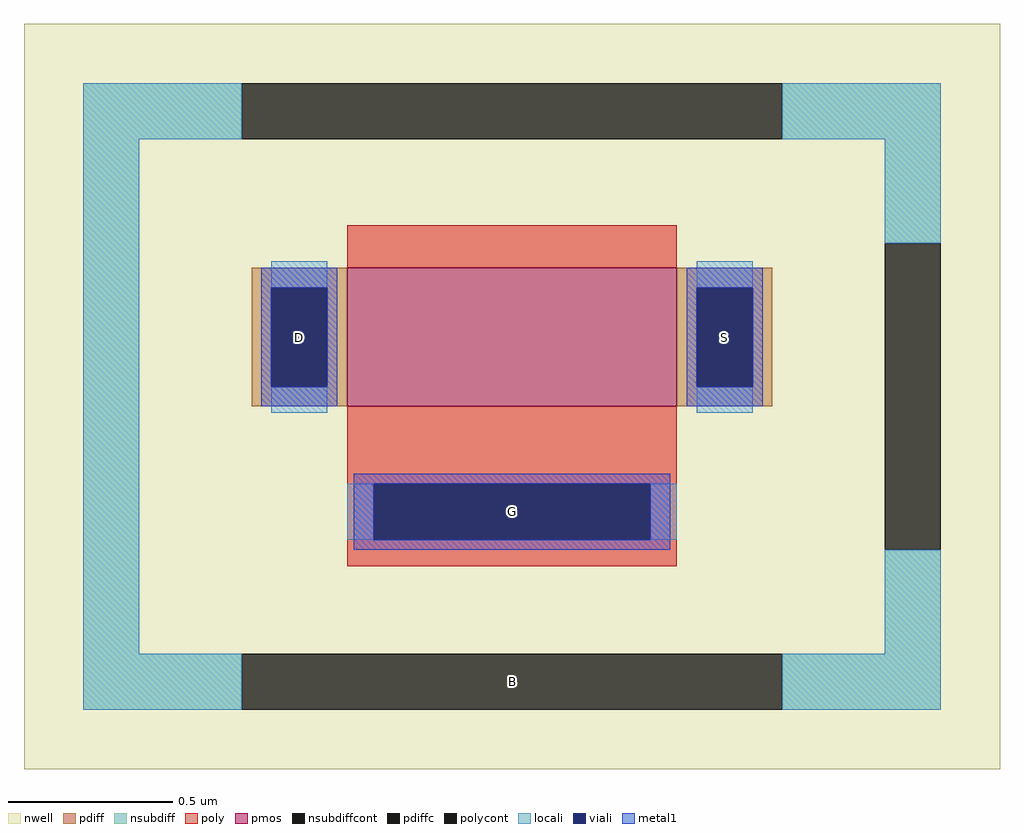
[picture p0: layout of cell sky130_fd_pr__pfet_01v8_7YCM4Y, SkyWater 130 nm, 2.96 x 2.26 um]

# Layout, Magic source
magic
tech sky130A
magscale 1 2
<< nwell >>
rect -296 -226 296 226
<< pmos >>
rect -100 -6 100 78
<< pdiff >>
rect -158 66 -100 78
rect -158 6 -146 66
rect -112 6 -100 66
rect -158 -6 -100 6
rect 100 66 158 78
rect 100 6 112 66
rect 146 6 158 66
rect 100 -6 158 6
<< pdiffc >>
rect -146 6 -112 66
rect 112 6 146 66
<< nsubdiff >>
rect -260 156 -164 190
rect 164 156 260 190
rect -260 -156 -226 156
rect 226 93 260 156
rect 226 -156 260 -93
rect -260 -190 -164 -156
rect 164 -190 260 -156
<< nsubdiffcont >>
rect -164 156 164 190
rect 226 -93 260 93
rect -164 -190 164 -156
<< poly >>
rect -100 78 100 104
rect -100 -53 100 -6
rect -100 -87 -84 -53
rect 84 -87 100 -53
rect -100 -103 100 -87
<< polycont >>
rect -84 -87 84 -53
<< locali >>
rect -260 156 -164 190
rect 164 156 260 190
rect -260 -156 -226 156
rect 226 93 260 156
rect -146 66 -112 82
rect -146 -10 -112 6
rect 112 66 146 82
rect 112 -10 146 6
rect -100 -87 -84 -53
rect 84 -87 100 -53
rect 226 -156 260 -93
rect -260 -190 -164 -156
rect 164 -190 260 -156
<< viali >>
rect -146 6 -112 66
rect 112 6 146 66
rect -84 -87 84 -53
<< metal1 >>
rect -152 66 -106 78
rect -152 6 -146 66
rect -112 6 -106 66
rect -152 -6 -106 6
rect 106 66 152 78
rect 106 6 112 66
rect 146 6 152 66
rect 106 -6 152 6
rect -96 -53 96 -47
rect -96 -87 -84 -53
rect 84 -87 96 -53
rect -96 -93 96 -87
<< labels >>
rlabel nsubdiffcont 0 -173 0 -173 0 B
port 1 nsew
rlabel pdiffc -129 36 -129 36 0 D
port 2 nsew
rlabel pdiffc 129 36 129 36 0 S
port 3 nsew
rlabel polycont 0 -70 0 -70 0 G
port 4 nsew
<< properties >>
string FIXED_BBOX -243 -173 243 173
string gencell sky130_fd_pr__pfet_01v8
string library sky130
string parameters w 0.42 l 1.0 m 1 nf 1 diffcov 100 polycov 100 guard 1 glc 0 grc 1 gtc 1 gbc 1 tbcov 100 rlcov 100 topc 0 botc 1 poverlap 0 doverlap 1 lmin 0.15 wmin 0.42 class mosfet compatible {sky130_fd_pr__pfet_01v8  sky130_fd_pr__pfet_01v8_lvt sky130_fd_pr__pfet_01v8_hvt  sky130_fd_pr__pfet_g5v0d10v5} full_metal 1 conn_gates 0 viasrc 100 viadrn 100 viagate 100 viagb 0 viagr 0 viagl 0 viagt 0 doports 1
<< end >>
